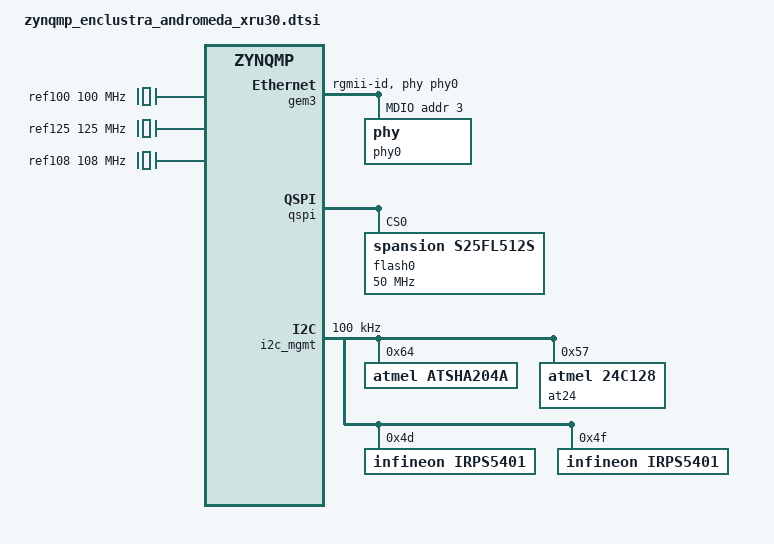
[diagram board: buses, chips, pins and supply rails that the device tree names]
#include <dt-bindings/gpio/gpio.h>

/ {
	aliases {
		i2c0 = &i2c_mgmt;
		i2c1 = &i2c_user;
	};
};

&gem3 {
	/delete-property/ local-mac-address;
	// mode=rgmii-id enables additional 2ns RX and TX clock delay
	phy-mode = "rgmii-id";
	phy-handle = <&phy0>;
	mdio {
		// KSZ9131
		phy0: phy@3 {
			reg = <3>;

			// 2 ns TX clock delay
			txc-skew-psec = <0>;
			txen-skew-psec = <0>;

			txd0-skew-psec = <0>;
			txd1-skew-psec = <0>;
			txd2-skew-psec = <0>;
			txd3-skew-psec = <0>;

			// 2 ns RX clock delay
			rxc-skew-psec = <0>;
			rxdv-skew-psec = <0>;

			rxd0-skew-psec = <0>;
			rxd1-skew-psec = <0>;
			rxd2-skew-psec = <0>;
			rxd3-skew-psec = <0>;
		};
	};
};

&qspi {
	#address-cells = <1>;
	#size-cells = <0>;
	is-dual = <0>;
	num-cs = <1>;
	flash0: flash@0 {
		reg = <0x0>;
		compatible = "spansion,s25fl512s", "jedec,spi-nor";
		spi-rx-bus-width = <0x4>;
		spi-tx-bus-width = <0x4>;
		spi-max-frequency = <50000000>;
		#address-cells = <1>;
		#size-cells = <1>;
	};
};

&psgtr {
	clocks = <&ref100>, <&ref125>, <&ref100>, <&ref108>;
	clock-names = "ref0", "ref1", "ref2", "ref3";
};

&amba {
	ref100: ref100M {
		compatible = "fixed-clock";
		#clock-cells = <0>;
		clock-frequency = <100000000>;
	};
	ref125: ref125M {
		compatible = "fixed-clock";
		#clock-cells = <0>;
		clock-frequency = <125000000>;
	};
	ref108: ref108M {
		compatible = "fixed-clock";
		#clock-cells = <0>;
		clock-frequency = <108000000>;
	};
	i2c_mgmt: i2c@ff020000 {
		clock-frequency = <100000>;
		atsha204a@64 {
			compatible = "atmel,atsha204a";
			reg = <0x64>;
		};
		at24@57 {
			compatible = "atmel,24c128";
			reg = <0x57>;
		};
		irps5401@4d {
			compatible = "infineon,irps5401";
			reg = <0x4d>;
		};
		irps5401@4f {
			compatible = "infineon,irps5401";
			reg = <0x4f>;
		};
	};
	i2c_user: i2c@ff030000 {
		clock-frequency = <100000>;
	};
};
